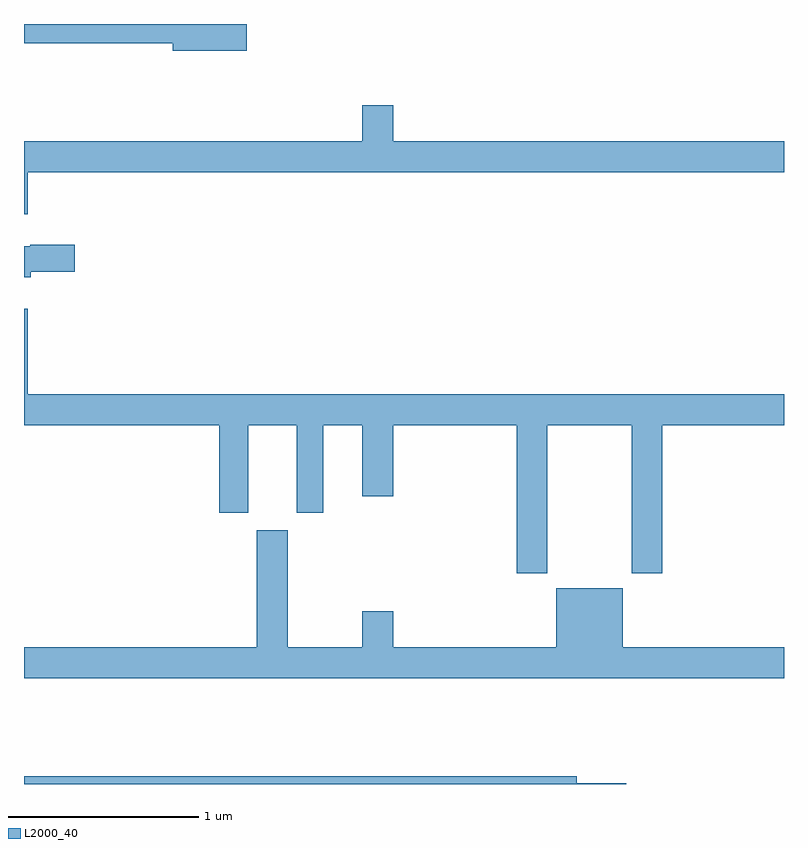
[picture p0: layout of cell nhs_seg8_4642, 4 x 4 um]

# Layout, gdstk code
import gdstk
lib = gdstk.Library(unit=1e-6, precision=1e-09)
def P(c, l, *ps):  # polygons
    for p in ps: c.add(gdstk.Polygon(p, *l))
L2000_40 = (2000, 40)

nhs_seg8_4642 = lib.new_cell('nhs_seg8_4642')
P(nhs_seg8_4642, L2000_40, [(392.173,1163.9),(391,1163.9),(391,1163.8),(391.784,1163.8),(391.784,1163.758),(392.173,1163.758)],
  [(391.021,1163.12),(395,1163.12),(395,1163.284),(392.944,1163.284),(392.944,1163.473),(392.78,1163.473),(392.78,1163.284),(391,1163.284),(391,1162.899),(391.021,1162.899)],
  [(391.036,1162.595),(391.267,1162.595),(391.267,1162.737),(391.032,1162.737),(391.032,1162.729),(391,1162.729),(391,1162.568),(391.036,1162.568)],
  [(393.753,1161.788),(394.198,1161.788),(394.198,1161.009),(394.358,1161.009),(394.358,1161.788),(395,1161.788),(395,1161.952),(391.021,1161.952),(391.021,1162.402),(391,1162.402),(391,1161.788),(392.027,1161.788),(392.027,1161.327),(392.179,1161.327),(392.179,1161.788),(392.435,1161.788),(392.435,1161.327),(392.575,1161.327),(392.575,1161.788),(392.78,1161.788),(392.78,1161.414),(392.944,1161.414),(392.944,1161.788),(393.593,1161.788),(393.593,1161.009),(393.753,1161.009)],
  [(395,1160.62),(394.15,1160.62),(394.15,1160.929),(393.8,1160.929),(393.8,1160.62),(392.944,1160.62),(392.944,1160.809),(392.78,1160.809),(392.78,1160.62),(392.389,1160.62),(392.389,1161.235),(392.225,1161.235),(392.225,1160.62),(391,1160.62),(391,1160.456),(395,1160.456)],
  [(394.171,1159.904),(393.91,1159.904),(393.91,1159.94),(391,1159.94),(391,1159.9),(394.171,1159.9)])

lib.write_gds('nhs_seg8_4642.gds')
